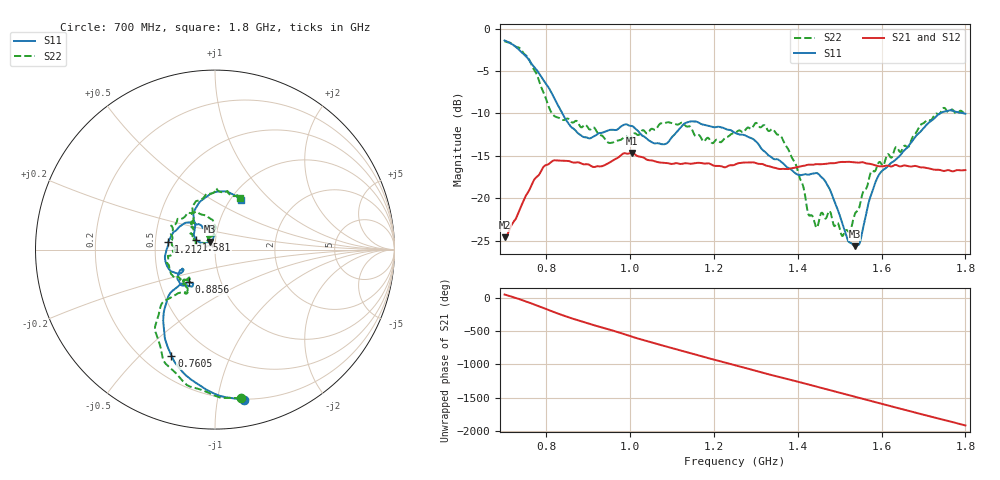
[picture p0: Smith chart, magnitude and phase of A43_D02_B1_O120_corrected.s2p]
! Created with skrf 1.9.0 (http://scikit-rf.org).
# Hz S RI R 50.0
!freq ReS11 ImS11 ReS21 ImS21 ReS12 ImS12 ReS22 ImS22
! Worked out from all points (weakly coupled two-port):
!   1601 points, 700 MHz to 1.8 GHz, reference 50 ohm
!   highest |S21| = -14.65 dB at 1.003 GHz (marker M1); lowest = -24.6 dB at 700 MHz (marker M2)
!   lowest |S11| = -25.6 dB at 1.535 GHz (marker M3), VSWR 1.11, Z = 47.2 + j4.27 ohm
!   |S11| at or under -10 dB: 838 MHz to 1.739 GHz (901.1 MHz wide, 69.9 % of centre); 1.797084 GHz to end of sweep
!   |S22| runs from -24.5 to -1.5 dB; largest |S21 - S12| = 0.0034
!   S11 on the Smith chart (normalised r, x): 700 MHz: 0.20, -1.19; 760.5 MHz: 0.31, -0.62; 885.6 MHz: 0.70, -0.27; 1.212 GHz: 0.59, +0.06; 1.581 GHz: 0.81, +0.09; 1.8 GHz: 1.12, +0.69
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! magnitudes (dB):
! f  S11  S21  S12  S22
! 700 MHz  -1.4  -24.6  -24.4  -1.5
! 760.5 MHz  -3.9  -18.9  -18.8  -3.8
! 814.8 MHz  -7.8  -15.6  -15.7  -10.1
! 883.6 MHz  -12.6  -15.9  -15.8  -11.7
! 885.6 MHz  -12.7  -16.0  -15.8  -11.6
! 950.2 MHz  -12.0  -15.8  -15.8  -13.5
! 1.003 GHz  -11.5  -14.6  -14.8  -12.7
! 1.067 GHz  -13.5  -15.8  -15.7  -11.4
! 1.139 GHz  -11.0  -15.9  -15.9  -11.5
! 1.212 GHz  -11.6  -16.2  -16.2  -13.3
! 1.25 GHz  -12.3  -16.0  -16.0  -12.3
! 1.301 GHz  -13.3  -15.9  -15.8  -11.1
! 1.359 GHz  -15.6  -16.5  -16.5  -12.6
! 1.434 GHz  -17.1  -16.1  -16.0  -22.0
! 1.469 GHz  -18.3  -15.9  -15.9  -22.3
! 1.507 GHz  -23.1  -15.7  -15.7  -24.4
! 1.535 GHz  -25.6  -15.8  -15.8  -22.0
! 1.548 GHz  -25.2  -15.8  -15.8  -20.7
! 1.581 GHz  -18.7  -16.1  -16.1  -16.8
! 1.617 GHz  -16.1  -16.2  -16.2  -14.9
! 1.737 GHz  -10.0  -16.7  -16.7  -10.1
! 1.8 GHz  -10.0  -16.7  -16.7  -10.0
